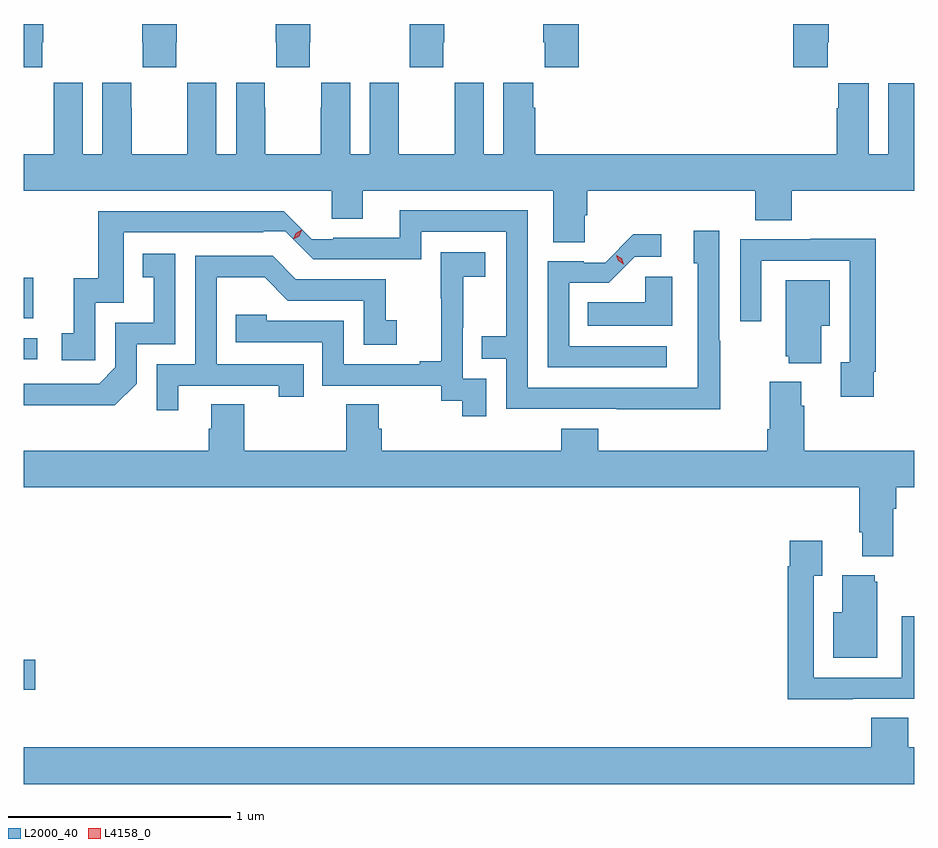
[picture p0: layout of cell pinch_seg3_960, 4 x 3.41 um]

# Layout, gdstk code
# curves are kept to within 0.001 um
import gdstk
lib = gdstk.Library(unit=1e-6, precision=1e-09)
def R(c, l, rs):  # rectangles x0, y0, x1, y1
    for r in rs: c.add(gdstk.rectangle(r[:2], r[2:], *l))
def P(c, l, *ps):  # polygons
    for p in ps: c.add(gdstk.Polygon(p, *l))
L2000_40 = (2000, 40)
L4158_0 = (4158, 0)

pinch_seg3_960 = lib.new_cell('pinch_seg3_960')
R(pinch_seg3_960, L2000_40, [(493.13,713.327,493.183,713.462), (493.13,714.81,493.192,714.906), (493.13,714.995,493.174,715.177)])
P(pinch_seg3_960, L2000_40, [(493.663,716.233),(493.665,716.233),(493.665,716.121),(493.815,716.121),(493.815,716.233),(493.818,716.233),(493.818,716.316),(493.663,716.316)],
  [(494.415,716.233),(494.418,716.233),(494.418,716.316),(494.263,716.316),(494.263,716.233),(494.265,716.233),(494.265,716.121),(494.415,716.121)],
  [(495.015,716.233),(495.018,716.233),(495.018,716.316),(494.863,716.316),(494.863,716.233),(494.865,716.233),(494.865,716.121),(495.015,716.121)],
  [(495.623,716.316),(495.463,716.316),(495.463,716.233),(495.469,716.233),(495.469,716.121),(495.623,716.121)],
  [(496.741,716.233),(496.746,716.233),(496.746,716.316),(496.586,716.316),(496.586,716.121),(496.741,716.121)],
  [(493.215,716.233),(493.218,716.233),(493.218,716.316),(493.13,716.316),(493.13,716.121),(493.215,716.121)],
  [(495.649,715.458),(495.662,715.458),(495.662,715.568),(496.415,715.568),(496.415,715.435),(496.58,715.435),(496.58,715.568),(497.13,715.568),(497.13,716.05),(497.012,716.05),(497.012,715.732),(496.924,715.732),(496.924,716.05),(496.787,716.05),(496.787,715.937),(496.781,715.937),(496.781,715.732),(495.428,715.732),(495.428,715.94),(495.418,715.94),(495.418,716.053),(495.284,716.053),(495.284,715.732),(495.196,715.732),(495.196,716.053),(495.066,716.053),(495.066,715.94),(495.065,715.94),(495.065,715.732),(494.815,715.732),(494.815,715.94),(494.814,715.94),(494.814,716.053),(494.684,716.053),(494.684,715.732),(494.596,715.732),(494.596,716.053),(494.466,716.053),(494.466,715.94),(494.465,715.94),(494.465,715.732),(494.215,715.732),(494.215,715.94),(494.214,715.94),(494.214,716.053),(494.084,716.053),(494.084,715.732),(493.996,715.732),(493.996,716.053),(493.866,716.053),(493.866,715.94),(493.865,715.94),(493.865,715.732),(493.615,715.732),(493.615,715.94),(493.614,715.94),(493.614,716.053),(493.484,716.053),(493.484,715.732),(493.396,715.732),(493.396,716.053),(493.266,716.053),(493.266,715.94),(493.265,715.94),(493.265,715.732),(493.13,715.732),(493.13,715.568),(494.513,715.568),(494.513,715.441),(494.653,715.441),(494.653,715.568),(495.509,715.568),(495.509,715.336),(495.649,715.336)],
  [(496.257,714.893),(496.254,714.893),(496.254,715.387),(496.139,715.387),(496.139,715.242),(496.158,715.242),(496.158,714.684),(495.393,714.684),(495.393,715.479),(494.819,715.479),(494.819,715.356),(494.521,715.356),(494.521,715.35),(494.424,715.35),(494.298,715.476),(493.465,715.476),(493.465,715.174),(493.355,715.174),(493.355,714.927),(493.302,714.927),(493.302,714.807),(493.452,714.807),(493.452,715.065),(493.581,715.065),(493.581,715.38),(494.207,715.38),(494.207,715.386),(494.304,715.386),(494.43,715.26),(494.916,715.26),(494.916,715.383),(495.297,715.383),(495.297,714.914),(495.187,714.914),(495.187,714.813),(495.297,714.813),(495.297,714.588),(496.257,714.587)],
  [(496.018,714.87),(495.579,714.87),(495.579,715.155),(495.757,715.155),(495.874,715.272),(495.994,715.272),(495.994,715.372),(495.868,715.372),(495.741,715.245),(495.645,715.245),(495.645,715.251),(495.483,715.251),(495.483,714.774),(496.018,714.774)],
  [(496.948,714.754),(496.955,714.754),(496.955,715.352),(496.663,715.352),(496.663,715.35),(496.347,715.35),(496.347,714.981),(496.443,714.981),(496.443,715.254),(496.839,715.254),(496.839,714.798),(496.799,714.798),(496.799,714.642),(496.948,714.642)],
  [(495.207,714.723),(495.102,714.723),(495.102,714.953),(495.104,714.953),(495.104,715.181),(495.202,715.181),(495.202,715.291),(495.004,715.291),(495.004,715.085),(495.005,715.085),(495.005,714.802),(494.909,714.802),(494.909,714.789),(494.568,714.789),(494.568,714.984),(494.223,714.984),(494.223,715.011),(494.083,715.011),(494.083,714.888),(494.472,714.888),(494.472,714.693),(495.006,714.693),(495.006,714.625),(495.099,714.625),(495.099,714.555),(495.207,714.555)],
  [(493.638,714.702),(493.638,714.879),(493.812,714.879),(493.812,715.285),(493.666,715.285),(493.666,715.179),(493.715,715.179),(493.715,714.975),(493.542,714.975),(493.542,714.774),(493.47,714.702),(493.13,714.702),(493.13,714.606),(493.132,714.605),(493.54,714.605)],
  [(493.825,714.693),(494.276,714.693),(494.276,714.642),(494.387,714.642),(494.387,714.789),(493.998,714.789),(493.998,715.178),(494.212,715.178),(494.316,715.074),(494.658,715.074),(494.658,714.876),(494.806,714.876),(494.806,714.985),(494.757,714.985),(494.757,715.17),(494.353,715.17),(494.248,715.275),(493.902,715.275),(493.902,714.789),(493.728,714.789),(493.728,714.582),(493.825,714.582)],
  [(496.042,715.181),(495.921,715.181),(495.921,715.066),(495.664,715.066),(495.664,714.962),(496.042,714.962)],
  [(496.711,714.962),(496.75,714.962),(496.75,715.165),(496.553,715.165),(496.553,714.825),(496.565,714.825),(496.565,714.794),(496.711,714.794)],
  [(497.035,714.14),(497.048,714.14),(497.048,714.236),(497.13,714.236),(497.13,714.4),(496.634,714.4),(496.634,714.602),(496.621,714.602),(496.621,714.709),(496.481,714.709),(496.481,714.496),(496.469,714.496),(496.469,714.4),(495.71,714.4),(495.71,714.499),(495.545,714.499),(495.545,714.4),(494.738,714.4),(494.738,714.498),(494.725,714.498),(494.725,714.608),(494.578,714.608),(494.578,714.4),(494.121,714.4),(494.121,714.608),(493.973,714.608),(493.973,714.498),(493.961,714.498),(493.961,714.4),(493.13,714.4),(493.13,714.236),(496.883,714.236),(496.883,714.034),(496.895,714.034),(496.895,713.927),(497.035,713.927)],
  [(496.853,713.286),(497.13,713.286),(497.13,713.656),(497.073,713.656),(497.073,713.382),(496.677,713.382),(496.677,713.839),(496.717,713.839),(496.717,713.995),(496.569,713.995),(496.569,713.882),(496.561,713.882),(496.561,713.285),(496.853,713.285)],
  [(496.963,713.811),(496.952,713.811),(496.952,713.842),(496.805,713.842),(496.805,713.674),(496.766,713.674),(496.766,713.471),(496.963,713.471)],
  [(497.13,713.068),(497.102,713.068),(497.102,713.201),(496.937,713.201),(496.937,713.068),(493.13,713.068),(493.13,712.904),(497.13,712.904)])
P(pinch_seg3_960, L4158_0, [(495.825,715.238),(495.8,715.252),(495.79,715.278),(495.79,715.278),(495.79,715.278),(495.815,715.265),(495.825,715.238),(495.825,715.238)],
  [(494.342,715.349),(494.342,715.349),(494.353,715.377),(494.379,715.392),(494.379,715.392),(494.379,715.391),(494.368,715.364),(494.342,715.349)])

lib.write_gds('pinch_seg3_960.gds')
